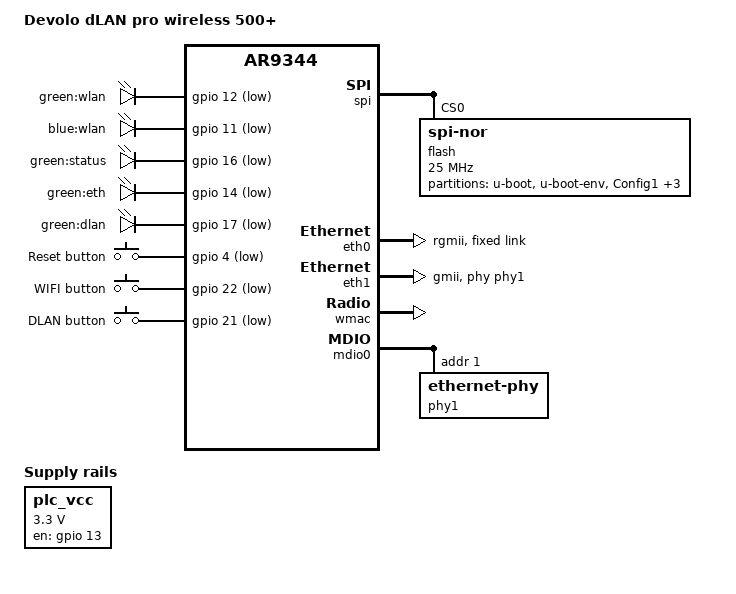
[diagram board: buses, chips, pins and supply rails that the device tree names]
// SPDX-License-Identifier: GPL-2.0-or-later OR MIT

#include "ar9344.dtsi"

#include <dt-bindings/gpio/gpio.h>
#include <dt-bindings/input/input.h>

/ {
	model = "Devolo dLAN pro wireless 500+";
	compatible = "devolo,dlan-pro-500-wp", "qca,ar9344";

	aliases {
		led-boot = &led_status_green;
		led-failsafe = &led_wlan_blue;
		led-running = &led_status_green;
		led-upgrade = &led_wlan_blue;
		label-mac-device = &eth0;
	};

	leds {
		compatible = "gpio-leds";

		wlan_green {
			label = "green:wlan";
			gpios = <&gpio 12 GPIO_ACTIVE_LOW>;
			linux,default-trigger = "phy0tpt";
		};

		led_wlan_blue: wlan_blue {
			label = "blue:wlan";
			gpios = <&gpio 11 GPIO_ACTIVE_LOW>;
			linux,default-trigger = "phy1tpt";
		};

		led_status_green: status_green {
			label = "green:status";
			gpios = <&gpio 16 GPIO_ACTIVE_LOW>;
		};

		eth_green {
			label = "green:eth";
			gpios = <&gpio 14 GPIO_ACTIVE_LOW>;
		};

		dlan_green {
			label = "green:dlan";
			gpios = <&gpio 17 GPIO_ACTIVE_LOW>;
		};
	};

	keys {
		compatible = "gpio-keys";

		reset {
			label = "Reset button";
			linux,code = <KEY_RESTART>;
			gpios = <&gpio 4 GPIO_ACTIVE_LOW>;
		};

		wifi {
			label = "WIFI button";
			linux,code = <KEY_RFKILL>;
			gpios = <&gpio 22 GPIO_ACTIVE_LOW>;
		};

		dlan {
			label = "DLAN button";
			linux,code = <BTN_0>;
			gpios = <&gpio 21 GPIO_ACTIVE_LOW>;
		};
	};

	plc-regulator {
		compatible = "regulator-fixed";
		gpio = <&gpio 13 GPIO_ACTIVE_HIGH>;
		regulator-name = "plc_vcc";
		regulator-min-microvolt = <3300000>;
		regulator-max-microvolt = <3300000>;
		enable-active-high;
		regulator-always-on;
		regulator-boot-on;
	};
};

// Overwrite the register for GMAC0 connection
&gmac {
	// 0b010001 = 0x11
	//    |   +- RGMII_GMAC0
	//    +-> MII_GMAC0_SLAVE
	reg = <0x18070000 0x11>;
};

&spi {
	status = "okay";

	flash@0 {
		compatible = "jedec,spi-nor";
		reg = <0>;
		spi-max-frequency = <25000000>;

		partitions {
			compatible = "fixed-partitions";
			#address-cells = <1>;
			#size-cells = <1>;

			partition@0 {
				label = "u-boot";
				reg = <0x0 0x40000>;
				read-only;
			};

			partition@40000 {
				label = "u-boot-env";
				reg = <0x40000 0x10000>;
				read-only;
			};

			partition@50000 {
				label = "Config1";
				reg = <0x50000 0x10000>;
				read-only;
			};

			partition@60000 {
				label = "Config2";
				reg = <0x60000 0x10000>;
				read-only;
			};

			partition@70000 {
				compatible = "denx,uimage";
				label = "firmware";
				reg = <0x70000 0x780000>;
			};

			partition@7f0000 {
				label = "art";
				reg = <0x7f0000 0x10000>;
				read-only;

				compatible = "nvmem-cells";
				#address-cells = <1>;
				#size-cells = <1>;

				cal_ath9k: calibration@1000 {
					reg = <0x1000 0x440>;
				};
				macaddr_art_1002: macaddr@1002 {
					reg = <0x1002 0x6>;
					};
			};
		};
	};
};

&ref {
	clock-frequency = <40000000>;
};

// GMAC0 is connected to a AR7400 PLC in PHY mode
&eth0 {
	status = "okay";

	// This is <PLL_1000 PLL_100 PLL_10>
	pll-data = <0x0e000000 0x00000101 0x00001616>;

	nvmem-cells = <&macaddr_art_1002>;
	nvmem-cell-names = "mac-address";
	mac-address-increment = <3>;

	phy-mode = "rgmii";

	gmac-config {
		device = <&gmac>;
		rgmii-gmac0 = <1>;
	};

	fixed-link {
		speed = <1000>;
		full-duplex;
	};
};

// GMAC1 is connected to the internal switch
&eth1 {
	status = "okay";

	pll-data = <0x16000000 0x00000101 0x00001616>;

	nvmem-cells = <&macaddr_art_1002>;
	nvmem-cell-names = "mac-address";
	mac-address-increment = <1>;

	phy-mode = "gmii";
	phy-handle = <&phy1>;
};

&wmac {
	status = "okay";

	nvmem-cells = <&cal_ath9k>;
	nvmem-cell-names = "calibration";
};

&mdio0 {
	status = "okay";

	phy1: ethernet-phy@1 {
		reg = <1>;
		phy-mode = "gmii"; 

		// Configure the internal switch
		qca,ar8327-initvals = <
			0x04 0x02000000 // PORT0: rgmii
			0x08 0x00000000 // PORT5 PAD MODE CTRL
			0x0c 0x00000000 // PORT6 PAD MODE CTRL
			0x7c 0x0000007e // PORT0_STATUS: speed 1000, full duplex
		>;
	};
};
